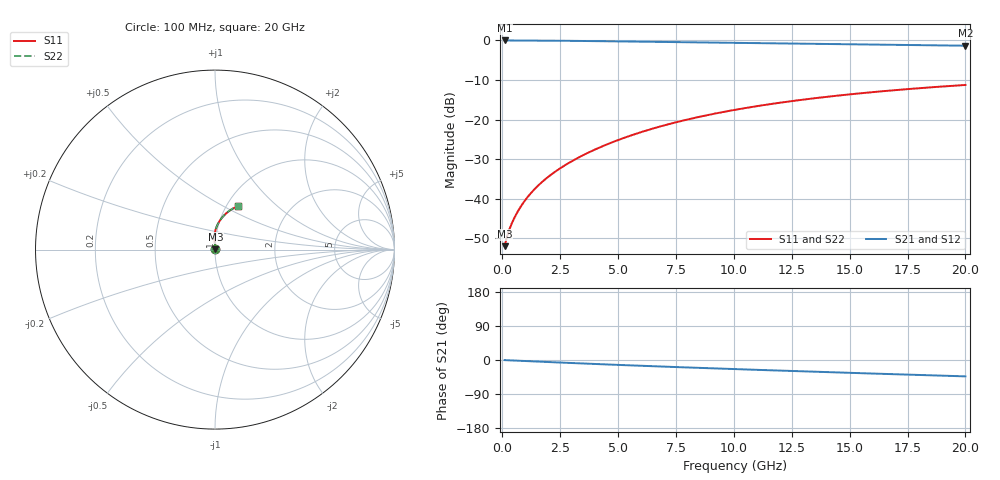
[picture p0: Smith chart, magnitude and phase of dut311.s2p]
! Touchstone file exported from HFSS 2024.1.0
!  File:  C:/UserFiles/LocalFiles/RDL_TSV_Batchsim/temp_RDL_bottom_311_1779610674.aedt
!  Generated:  04:20:18 PM May 24, 2026
!  Design:  RDL_bottom
!  Project:  temp_RDL_bottom_311_1779610674
!  Setup:  Setup1
!  Solution:  Sweep
! Variables:
!  dtsv = 10.80580581um
!  hbump = 3um
!  htsv = 78.1um
!  ldown = 695.47um
!  lrdl = 100um
!  p = 40
!  p1 = 46.83um
!  rhole = 1um
!  t = 450um
!  tdown = 4.41um
!  trdl = 3.915915916um
!  wdown = 28.93um
!  wrdl = 20um
# GHz S MA R 50.000000
! Terminal data exported
! Port[1] = RDL1_T1
! Port[2] = RDL1_T2
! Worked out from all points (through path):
!   200 points, 100 MHz to 20 GHz, reference 50 ohm
!   highest |S21| = -0.02 dB at 100 MHz (marker M1); lowest = -1.3 dB at 20 GHz (marker M2)
!   group delay of S21, straight-line fit = 5.9 ps
!   lowest |S11| = -52.0 dB at 100 MHz (marker M3), VSWR 1.01, Z = 50.2 + j0.122 ohm
!   |S11| at or under -10 dB: start of sweep to end of sweep
!   |S22| runs from -52.0 to -11.3 dB; largest |S21 - S12| = 1.1e-14
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0.1  0.002511 29.0  0.9978 -0.3  0.9978 -0.3  0.002511 29.0
! Gamma 0 0 0 0
! Port Impedance 50 0 50 0
0.2  0.003292 42.9  0.9975 -0.6  0.9975 -0.6  0.003292 42.9
0.3  0.004052 50.8  0.9973 -0.8  0.9973 -0.8  0.004052 50.8
0.5  0.005553 61.4  0.9969 -1.4  0.9969 -1.4  0.005553 61.4
0.8  0.007961 71.2  0.9963 -2.2  0.9963 -2.2  0.007961 71.2
1  0.009667 75.5  0.9958 -2.7  0.9958 -2.7  0.009666 75.5
1.2  0.01143 78.7  0.9952 -3.3  0.9952 -3.3  0.01143 78.7
1.4  0.01326 81.3  0.9945 -3.8  0.9945 -3.8  0.01326 81.3
1.7  0.01609 84.2  0.9934 -4.6  0.9934 -4.6  0.01609 84.2
2.2  0.02106 87.6  0.991 -5.9  0.991 -5.9  0.02106 87.7
2.8  0.02746 90.4  0.9876 -7.5  0.9876 -7.5  0.02746 90.4
3.5  0.03555 92.3  0.9829 -9.3  0.9829 -9.3  0.03555 92.3
4.2  0.04429 93.2  0.9777 -11.0  0.9777 -11.0  0.0443 93.2
5  0.05503 93.5  0.9712 -12.9  0.9712 -12.9  0.05504 93.5
5.9  0.0679 92.9  0.9637 -15.0  0.9637 -15.0  0.06792 93.0
6.8  0.08141 91.8  0.956 -17.1  0.956 -17.1  0.08145 91.8
8.4  0.1064 88.9  0.9424 -20.6  0.9424 -20.6  0.1065 88.9
10.1  0.1334 85.1  0.9284 -24.1  0.9284 -24.1  0.1335 85.1
11.7  0.1586 81.3  0.9158 -27.4  0.9158 -27.4  0.1587 81.3
13.4  0.1845 77.2  0.903 -30.8  0.903 -30.8  0.1846 77.2
16.7  0.2315 69.5  0.8792 -37.1  0.8792 -37.1  0.2317 69.5
20  0.2734 62.2  0.8568 -43.2  0.8568 -43.2  0.2736 62.3
